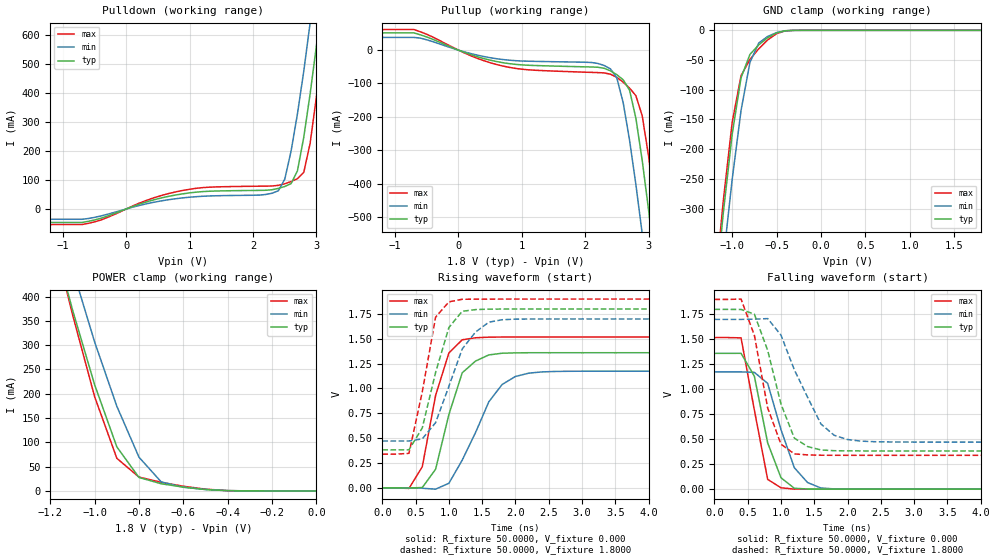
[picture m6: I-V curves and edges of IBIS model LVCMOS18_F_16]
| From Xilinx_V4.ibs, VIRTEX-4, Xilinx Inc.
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|   Model LVCMOS18_F_16
[Model]   LVCMOS18_F_16
Model_type   I/O
Polarity   Non-Inverting
Enable   Active-Low
Vinh = 1.19V
Vinl = 0.4V
Vmeas =   0.9000V
Cref =  0.000F
Rref =   1.0000M
Vref =  0.000V
C_comp   8.0000pF   8.0000pF   8.0000pF
[Temperature Range]   25.0000   85.0000   0.000
[Voltage Range]   1.8000V   1.7000V   1.9000V
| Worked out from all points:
|   slope of the pulldown table from 0 to 0.27 V, typ, clamps not added: 12.9 ohm
|   slope of the pullup table from 0 to 0.27 V, typ, clamps not added: 14.9 ohm
|   GND clamp passes 1 mA (typ) near -0.41 V on its own axis
|   POWER clamp passes 1 mA (typ) near -0.42 V on its own axis
|   rising waveform, R_fixture 50.0000, V_fixture 0.000: 20-80 % time 336ps typ, 522ps min, 308ps max; typ from 0 V to 1.36 V
|   rising waveform, R_fixture 50.0000, V_fixture 1.8000: 20-80 % time 335ps typ, 433ps min, 267ps max; typ from 0.382 V to 1.8 V
|   falling waveform, R_fixture 50.0000, V_fixture 0.000: 20-80 % time 297ps typ, 338ps min, 258ps max; typ from 1.36 V to 0 V
|   falling waveform, R_fixture 50.0000, V_fixture 1.8000: 20-80 % time 379ps typ, 501ps min, 315ps max; typ from 1.8 V to 0.383 V
[Pulldown]
| voltage   I(typ)   I(min)   I(max)
-1.8V     -46.57mA   -35.62mA   -53.71mA
-700mV    -46.57mA   -35.62mA   -53.71mA
800mV     48.87mA    35.77mA    59.77mA
2.4V      70.78mA    62.9mA     81.39mA
2.5V      77.41mA    102.6mA    86.72mA
2.7V      131.2mA    327.8mA    104.2mA
2.8V      247.1mA    475mA      126.2mA
2.9V      396.5mA    640.9mA    226.2mA
3V        563mA      822.6mA    387.1mA
3.1V      742.9mA    1.014A     568.5mA
3.2V      932.7mA    1.213A     759.8mA
3.6V      1.735A     2.018A     1.579A
[Pullup]
| voltage   I(typ)   I(min)   I(max)
-1.8V     51.56mA    38.05mA    61.59mA
-700mV    51.56mA    38.05mA    61.59mA
700mV     -37.64mA   -28.19mA   -47.67mA
2.4V      -62.18mA   -56.36mA   -72.2mA
2.5V      -73.81mA   -83.74mA   -81.8mA
2.7V      -119.8mA   -269.5mA   -113.6mA
2.8V      -203.8mA   -402.5mA   -136.5mA
2.9V      -330.3mA   -549.8mA   -196.5mA
3V        -478.4mA   -711.5mA   -316.9mA
3.1V      -641.3mA   -890.3mA   -468.3mA
3.2V      -820.1mA   -1.084A    -635.8mA
3.6V      -1.631A    -1.877A    -1.427A
[GND_clamp]
| voltage   I(typ)   I(min)   I(max)
-1.8V     -1.621A    -1.67A     -1.626A
-1.2V     -458.4mA   -535.2mA   -443.2mA
-1.1V     -307mA     -386mA     -286.5mA
-1V       -174.9mA   -250.6mA   -154.8mA
-900mV    -79.61mA   -134.7mA   -76.27mA
-800mV    -40.54mA   -53.98mA   -48.94mA
-700mV    -24.41mA   -21.32mA   -30.96mA
-600mV    -12.44mA   -10.24mA   -16.17mA
-500mV    -4.23mA    -3.859mA   -5.633mA
-400mV    -647uA     -794.1uA   -841.7uA
-300mV    -43.21uA   -80.7uA    -50.76uA
1.8V      182.4nA    595.7nA    179.6nA
[POWER_clamp]
| voltage   I(typ)   I(min)   I(max)
-1.8V     1.723A     1.807A     1.778A
-1.2V     543.3mA    626.5mA    548.6mA
-1.1V     373.1mA    457.2mA    363.5mA
-1V       218.5mA    306.5mA    193.9mA
-900mV    90.67mA    174.3mA    67.17mA
-800mV    27.68mA    69.38mA    28.46mA
-700mV    14.76mA    18.63mA    17.76mA
-600mV    7.79mA     7.541mA    9.625mA
-500mV    2.851mA    2.955mA    3.657mA
-400mV    489.4uA    668.2uA    637.6uA
0V        182.4nA    202.6nA    190.3nA
[Ramp]
| variable   typ   min   max
dV/dt_r   0.8160/0.3243n   0.7044/0.4435n   0.9108/0.2503n
dV/dt_f   0.8504/0.3257n   0.7372/0.4180n   0.9366/0.2654n
R_load = 50.0000
[Rising Waveform]
R_fixture = 50.0000
V_fixture = 0.000
| time   V(typ)   V(min)   V(max)
0s        0V         0V         0V
400ps     -798.3uV   -7.155uV   -5.777mV
600ps     3.09mV     -3.923mV   212.6mV
800ps     187.3mV    -13.04mV   930mV
1ns       738.8mV    46.43mV    1.358V
1.2ns     1.158V     279.2mV    1.49V
1.6ns     1.338V     866.3mV    1.516V
1.8ns     1.355V     1.04V      1.518V
2.2ns     1.36V      1.155V     1.518V
10ns      1.36V      1.174V     1.518V
[Rising Waveform]
R_fixture = 50.0000
V_fixture = 1.8000
V_fixture_min = 1.7000
V_fixture_max = 1.9000
| time   V(typ)   V(min)   V(max)
0s        382.5mV    471.4mV    339mV
400ps     382.8mV    471.4mV    347.5mV
600ps     603.9mV    493.3mV    966.6mV
800ps     1.161V     656.3mV    1.718V
1ns       1.614V     1.023V     1.872V
1.2ns     1.777V     1.398V     1.898V
1.4ns     1.794V     1.568V     1.899V
1.6ns     1.798V     1.667V     1.899V
1.8ns     1.8V       1.692V     1.9V
10ns      1.8V       1.7V       1.9V
[Falling Waveform]
R_fixture = 50.0000
V_fixture = 0.000
| time   V(typ)   V(min)   V(max)
0s        1.36V      1.174V     1.518V
400ps     1.361V     1.174V     1.515V
600ps     1.131V     1.17V      791mV
800ps     463.4mV    1.059V     97.76mV
1ns       114.5mV    596.3mV    13.85mV
1.2ns     8.703mV    215.3mV    797uV
1.4ns     1.704mV    65.72mV    271.7uV
1.6ns     350.5uV    11.88mV    37.05uV
2.2ns     -833nV     224.3uV    1.252uV
10ns      -4.08uV    1.513uV    5.103uV
[Falling Waveform]
R_fixture = 50.0000
V_fixture = 1.8000
V_fixture_min = 1.7000
V_fixture_max = 1.9000
| time   V(typ)   V(min)   V(max)
0s        1.8V       1.7V       1.9V
400ps     1.8V       1.7V       1.903V
600ps     1.753V     1.702V     1.541V
800ps     1.39V      1.708V     813.2mV
1ns       852.1mV    1.542V     450mV
1.2ns     511.6mV    1.196V     353.4mV
1.6ns     392.7mV    652.9mV    339.9mV
1.8ns     385.1mV    539.2mV    339.2mV
2ns       383.4mV    497mV      339mV
10ns      382.6mV    471.4mV    339mV
